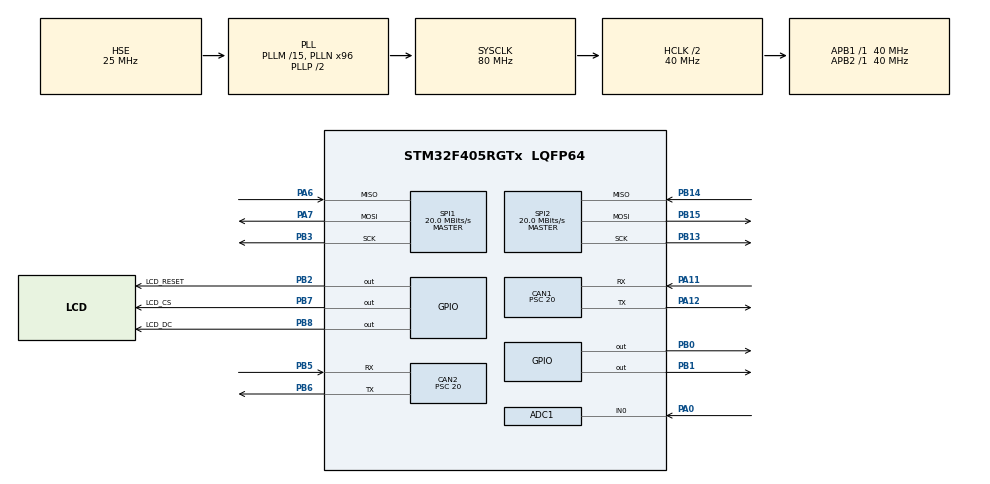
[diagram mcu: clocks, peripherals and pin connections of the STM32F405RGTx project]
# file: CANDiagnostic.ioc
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ADC1.Channel-0\#ChannelRegularConversion=ADC_CHANNEL_0
ADC1.InjNumberOfConversion=0
ADC1.NbrOfConversion=1
ADC1.NbrOfConversionFlag=1
ADC1.Rank-0\#ChannelRegularConversion=1
ADC1.SamplingTime-0\#ChannelRegularConversion=ADC_SAMPLETIME_144CYCLES
ADC1.master=1
CAN1.BS1=CAN_BS1_2TQ
CAN1.CalculateBaudRate=500000
CAN1.CalculateTimeBit=2000.00
CAN1.CalculateTimeQuantum=500.0
CAN1.Mode=CAN_MODE_NORMAL
CAN1.Prescaler=20
CAN1.SJW=CAN_SJW_1TQ
CAN2.BS1=CAN_BS1_2TQ
CAN2.CalculateBaudRate=500000
CAN2.CalculateTimeBit=2000.00
CAN2.CalculateTimeQuantum=500.0
CAN2.Mode=CAN_MODE_NORMAL
CAN2.Prescaler=20
Mcu.Family=STM32F4
Mcu.Name=STM32F405RGTx
Mcu.Package=LQFP64
NVIC.ADC_IRQn=true\:0\:0\:false\:false\:true\:true\:true
NVIC.CAN1_RX0_IRQn=true\:0\:0\:false\:false\:true\:true\:true
NVIC.CAN1_RX1_IRQn=true\:0\:0\:false\:false\:true\:true\:true
NVIC.CAN2_RX0_IRQn=true\:0\:0\:false\:false\:true\:true\:true
NVIC.CAN2_RX1_IRQn=true\:0\:0\:false\:false\:true\:true\:true
NVIC.PriorityGroup=NVIC_PRIORITYGROUP_4
PA0-WKUP.Signal=ADCx_IN0
PA11.Mode=CAN_Activate
PA11.Signal=CAN1_RX
PA12.Mode=CAN_Activate
PA12.Signal=CAN1_TX
PA13.Mode=Serial_Wire
PA13.Signal=SYS_JTMS-SWDIO
PA14.Mode=Serial_Wire
PA14.Signal=SYS_JTCK-SWCLK
PA6.Mode=Full_Duplex_Master
PA6.Signal=SPI1_MISO
PA7.Mode=Full_Duplex_Master
PA7.Signal=SPI1_MOSI
PB0.Signal=GPIO_Output
PB1.Signal=GPIO_Output
PB13.Mode=Full_Duplex_Master
PB13.Signal=SPI2_SCK
PB14.Mode=Full_Duplex_Master
PB14.Signal=SPI2_MISO
PB15.Mode=Full_Duplex_Master
PB15.Signal=SPI2_MOSI
PB2.GPIO_Label=LCD_RESET
PB2.Signal=GPIO_Output
PB3.Mode=Full_Duplex_Master
PB3.Signal=SPI1_SCK
PB5.Mode=CAN_Activate
PB5.Signal=CAN2_RX
PB6.Mode=CAN_Activate
PB6.Signal=CAN2_TX
PB7.GPIO_Label=LCD_CS
PB7.Signal=GPIO_Output
PB8.GPIO_Label=LCD_DC
PB8.Signal=GPIO_Output
PB9.Signal=SPI2_NSS
PH0-OSC_IN.Mode=HSE-External-Oscillator
PH0-OSC_IN.Signal=RCC_OSC_IN
PH1-OSC_OUT.Mode=HSE-External-Oscillator
PH1-OSC_OUT.Signal=RCC_OSC_OUT
ProjectManager.HeapSize=0x200
ProjectManager.StackSize=0x400
ProjectManager.TargetToolchain=STM32CubeIDE
RCC.48MHZClocksFreq_Value=40000000
RCC.AHBCLKDivider=RCC_SYSCLK_DIV2
RCC.AHBFreq_Value=40000000
RCC.APB1Freq_Value=40000000
RCC.APB1TimFreq_Value=40000000
RCC.APB2Freq_Value=40000000
RCC.APB2TimFreq_Value=40000000
RCC.CortexFreq_Value=40000000
RCC.HCLKFreq_Value=40000000
RCC.HSE_VALUE=25000000
RCC.HSI_VALUE=16000000
RCC.LSE_VALUE=32768
RCC.PLLM=15
RCC.PLLN=96
RCC.PLLSourceVirtual=RCC_PLLSOURCE_HSE
RCC.SYSCLKFreq_VALUE=80000000
RCC.SYSCLKSource=RCC_SYSCLKSOURCE_PLLCLK
RCC.VCOOutputFreq_Value=160000000
SH.ADCx_IN0.0=ADC1_IN0,IN0
SPI1.CalculateBaudRate=20.0 MBits/s
SPI1.Direction=SPI_DIRECTION_2LINES
SPI1.Mode=SPI_MODE_MASTER
SPI1.VirtualType=VM_MASTER
SPI2.CalculateBaudRate=20.0 MBits/s
SPI2.Direction=SPI_DIRECTION_2LINES
SPI2.Mode=SPI_MODE_MASTER
SPI2.VirtualType=VM_MASTER
board=custom

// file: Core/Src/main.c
/* USER CODE BEGIN Header */
/**
  ******************************************************************************
  * @file           : main.c
  * @brief          : Main program body
  ******************************************************************************
  * @attention
  *
  * <h2><center>&copy; Copyright (c) 2023 STMicroelectronics.
  * All rights reserved.</center></h2>
  *
  * This software component is licensed by ST under BSD 3-Clause license,
  * the "License"; You may not use this file except in compliance with the
  * License. You may obtain a copy of the License at:
  *                        opensource.org/licenses/BSD-3-Clause
  *
  ******************************************************************************
  */
/* USER CODE END Header */
#include "main.h"
#include "stdio.h"
#include "st7789.h"
#include "LCD_display.h"
#include "stdint.h"

ADC_HandleTypeDef hadc1;

CAN_HandleTypeDef hcan1;
CAN_HandleTypeDef hcan2;

SPI_HandleTypeDef hspi1;
SPI_HandleTypeDef hspi2;

void SystemClock_Config(void);
static void MX_GPIO_Init(void);
static void MX_CAN1_Init(void);
static void MX_CAN2_Init(void);
static void MX_SPI1_Init(void);
static void MX_ADC1_Init(void);
static void MX_SPI2_Init(void);

/* USER CODE BEGIN 0 */
uint16_t u16_ADCVal;
float Voltage;
void HAL_ADC_ConvCpltCallback(ADC_HandleTypeDef* hadc)
{
  /* Prevent unused argument(s) compilation warning */
  UNUSED(hadc);
  /* NOTE : This function Should not be modified, when the callback is needed,
            the HAL_ADC_ConvCpltCallback could be implemented in the user file
   */
  if(hadc->Instance == ADC1){
	  u16_ADCVal = HAL_ADC_GetValue(&hadc1);
	  Voltage = (float)u16_ADCVal/4096*3.3;
  }
}

CAN_TxHeaderTypeDef   TxHeader_Node1;
CAN_RxHeaderTypeDef   RxHeader_Node1;

CAN_TxHeaderTypeDef   TxHeader_Node2;
CAN_RxHeaderTypeDef   RxHeader_Node2;

uint32_t TxMailbox;
uint8_t TxData_Node1[8] = {0x22, 0x34,0x10,0,0,0,0,0};
uint8_t RxData_Node1[8];

uint8_t TxData_Node2[8] = {0,0,0,0,0,0,0,0};;
uint8_t RxData_Node2[8];

uint8_t  count=0;

int datacheck = 0;

void HAL_CAN_RxFifo0MsgPendingCallback(CAN_HandleTypeDef *hcan)
{
	if(HAL_CAN_GetRxMessage(hcan, CAN_RX_FIFO0, &RxHeader_Node1, RxData_Node1) == HAL_OK){
		uint32_t value = RxHeader_Node1.StdId;
		char valueString[11];
		sprintf(valueString, "DataID: 0x%04X", value);
		ST7789_WriteString(140, 10, valueString, Font_7x10, RED, WHITE);

		for(int i=0;i<8;i++){
			uint8_t value = RxData_Node1[i];
		    char valueString[5];
		    sprintf(valueString, "0x%02X", value);
		    ST7789_WriteString(140, (20*i)+30, valueString, Font_7x10, RED, WHITE);
		}
		HAL_GPIO_WritePin(GPIOB, GPIO_PIN_1, 1);

		if(RxData_Node1[0] == 0x7F){
			if(RxData_Node1[2] == 0x11){
				ST7789_WriteString(0, 200, "serviceNotSupportedInActiveSession", Font_7x10, RED, WHITE);
			}
			else if(RxData_Node1[2] == 0x31){
				ST7789_WriteString(0, 200, "requestOutOfRange", Font_7x10, RED, WHITE);
			}
			else{
				ST7789_WriteString(0, 200, "Error", Font_7x10, RED, WHITE);
			}

		}
		else{
			uint16_t combinedValue = (uint16_t)((RxData_Node1[3] << 8) | RxData_Node1[4]);
			float receivedVoltage = (float)combinedValue/4096*3.3;
			char valueString[11];
			sprintf(valueString, "Received Voltage: %f", receivedVoltage);
			ST7789_WriteString(0, 200, valueString, Font_7x10, RED, WHITE);
		}
	}
}

void HAL_CAN_RxFifo1MsgPendingCallback(CAN_HandleTypeDef *hcan){
		if(HAL_CAN_GetRxMessage(hcan, CAN_RX_FIFO1, &RxHeader_Node2, RxData_Node2) == HAL_OK){
			uint32_t value = RxHeader_Node2.StdId;
			char valueString[11];
			sprintf(valueString, "DataID: 0x%04X", value);
			ST7789_WriteString(0, 10, valueString, Font_7x10, RED, WHITE);

            for(int i=0;i<8;i++){
            	uint8_t value = RxData_Node2[i];
            	char valueString[5];
            	sprintf(valueString, "0x%02X", value);
            	ST7789_WriteString(0,(20*i)+30, valueString, Font_7x10, RED, WHITE);
            }

            if(RxData_Node2[0] != 0x22){
            	TxData_Node2[0] = 0x7F;
            	TxData_Node2[1] = RxData_Node2[0];
            	TxData_Node2[2] = 0x11;
            }
            else if(RxData_Node2[0] == 0x22 && (RxData_Node2[1] != 0x34 || RxData_Node2[2] != 0x10)){
            	TxData_Node2[0] = 0x7F;
            	TxData_Node2[1] = RxData_Node2[0];
            	TxData_Node2[2] = 0x31;
            }
            else{
            	TxData_Node2[0] = 0x62;
            	TxData_Node2[1] = RxData_Node2[1];
            	TxData_Node2[2] = RxData_Node2[2];
            	HAL_ADC_Start_IT(&hadc1);
            	TxData_Node2[3] = (uint8_t)(u16_ADCVal >> 8);
            	TxData_Node2[4] = (uint8_t)(u16_ADCVal & 0xFF);
            }

			if(HAL_CAN_AddTxMessage(&hcan2, &TxHeader_Node2, TxData_Node2, &TxMailbox) == HAL_OK){
				HAL_GPIO_WritePin(GPIOB, GPIO_PIN_0, 1);

			}
		}
}
/* USER CODE END 0 */

int main(void)
{

  /* MCU Configuration--------------------------------------------------------*/

  /* Reset of all peripherals, Initializes the Flash interface and the Systick. */
  HAL_Init();

  /* Configure the system clock */
  SystemClock_Config();

  /* Initialize all configured peripherals */
  MX_GPIO_Init();
  MX_CAN1_Init();
  MX_CAN2_Init();
  MX_SPI1_Init();
  MX_ADC1_Init();
  MX_SPI2_Init();
  /* USER CODE BEGIN 2 */
  TxHeader_Node1.DLC = 8;
    TxHeader_Node1.ExtId = 0x02;
    TxHeader_Node1.IDE = CAN_ID_STD;
    TxHeader_Node1.RTR = CAN_RTR_DATA;
    TxHeader_Node1.StdId = 0x012;
    TxHeader_Node1.TransmitGlobalTime = DISABLE;

    TxHeader_Node2.DLC = 8;
    TxHeader_Node2.ExtId = 0x02;
    TxHeader_Node2.IDE = CAN_ID_STD;
    TxHeader_Node2.RTR = CAN_RTR_DATA;
    TxHeader_Node2.StdId = 0x0A2;
    TxHeader_Node2.TransmitGlobalTime = DISABLE;

      HAL_CAN_Start(&hcan1);
      HAL_CAN_Start(&hcan2);

      //CAN1 filter
      CAN_FilterTypeDef can1filterconfig;

          can1filterconfig.FilterActivation = CAN_FILTER_ENABLE;
          can1filterconfig.FilterBank = 0;  // which filter bank to use from the assigned ones
          can1filterconfig.FilterFIFOAssignment = CAN_FILTER_FIFO0;
          can1filterconfig.FilterIdHigh = 0x0A2 << 5;
          can1filterconfig.FilterIdLow = 0x0000;
          can1filterconfig.FilterMaskIdHigh = 0x0A2 << 5;
          can1filterconfig.FilterMaskIdLow = 0x0000;
          can1filterconfig.FilterMode = CAN_FILTERMODE_IDMASK;
          can1filterconfig.FilterScale = CAN_FILTERSCALE_32BIT;
          can1filterconfig.SlaveStartFilterBank = 14;  // how many filters to assign to the CAN1 (master can)

          HAL_CAN_ConfigFilter(&hcan1, &can1filterconfig);
      //End CAN1 filter

      //CAN1 filter
      CAN_FilterTypeDef can2filterconfig;

      	can2filterconfig.FilterActivation = CAN_FILTER_ENABLE;
          can2filterconfig.FilterBank = 14;  // which filter bank to use from the assigned ones
          can2filterconfig.FilterFIFOAssignment = CAN_FILTER_FIFO1;
          can2filterconfig.FilterIdHigh = 0x012 << 5;
          can2filterconfig.FilterIdLow = 0x0000;
          can2filterconfig.FilterMaskIdHigh = 0x012 << 5;
          can2filterconfig.FilterMaskIdLow = 0x0000;
          can2filterconfig.FilterMode = CAN_FILTERMODE_IDMASK;
          can2filterconfig.FilterScale = CAN_FILTERSCALE_32BIT;
          can2filterconfig.SlaveStartFilterBank = 14;  // how many filters to assign to the CAN1 (master can)

          HAL_CAN_ConfigFilter(&hcan2, &can2filterconfig);
       //End CAN1 filter

          HAL_CAN_ActivateNotification(&hcan1,CAN_IT_RX_FIFO0_MSG_PENDING);
          HAL_CAN_ActivateNotification(&hcan2,CAN_IT_RX_FIFO1_MSG_PENDING);

  lcd_init();
  ST7789_Init();
  /* USER CODE END 2 */

  /* Infinite loop */
  while (1)
  {

    /* USER CODE BEGIN 3 */

	HAL_CAN_AddTxMessage(&hcan1, &TxHeader_Node1, TxData_Node1, &TxMailbox);

	  HAL_Delay(1000);

  }
  /* USER CODE END 3 */
}

void SystemClock_Config(void)
{
  RCC_OscInitTypeDef RCC_OscInitStruct = {0};
  RCC_ClkInitTypeDef RCC_ClkInitStruct = {0};

  /** Configure the main internal regulator output voltage
  */
  __HAL_RCC_PWR_CLK_ENABLE();
  __HAL_PWR_VOLTAGESCALING_CONFIG(PWR_REGULATOR_VOLTAGE_SCALE1);
  /** Initializes the RCC Oscillators according to the specified parameters
  * in the RCC_OscInitTypeDef structure.
  */
  RCC_OscInitStruct.OscillatorType = RCC_OSCILLATORTYPE_HSE;
  RCC_OscInitStruct.HSEState = RCC_HSE_ON;
  RCC_OscInitStruct.PLL.PLLState = RCC_PLL_ON;
  RCC_OscInitStruct.PLL.PLLSource = RCC_PLLSOURCE_HSE;
  RCC_OscInitStruct.PLL.PLLM = 15;
  RCC_OscInitStruct.PLL.PLLN = 96;
  RCC_OscInitStruct.PLL.PLLP = RCC_PLLP_DIV2;
  RCC_OscInitStruct.PLL.PLLQ = 4;
  if (HAL_RCC_OscConfig(&RCC_OscInitStruct) != HAL_OK)
  {
    Error_Handler();
  }
  /** Initializes the CPU, AHB and APB buses clocks
  */
  RCC_ClkInitStruct.ClockType = RCC_CLOCKTYPE_HCLK|RCC_CLOCKTYPE_SYSCLK
                              |RCC_CLOCKTYPE_PCLK1|RCC_CLOCKTYPE_PCLK2;
  RCC_ClkInitStruct.SYSCLKSource = RCC_SYSCLKSOURCE_PLLCLK;
  RCC_ClkInitStruct.AHBCLKDivider = RCC_SYSCLK_DIV2;
  RCC_ClkInitStruct.APB1CLKDivider = RCC_HCLK_DIV1;
  RCC_ClkInitStruct.APB2CLKDivider = RCC_HCLK_DIV1;

  if (HAL_RCC_ClockConfig(&RCC_ClkInitStruct, FLASH_LATENCY_1) != HAL_OK)
  {
    Error_Handler();
  }
}

static void MX_ADC1_Init(void)
{

  ADC_ChannelConfTypeDef sConfig = {0};

  /** Configure the global features of the ADC (Clock, Resolution, Data Alignment and number of conversion)
  */
  hadc1.Instance = ADC1;
  hadc1.Init.ClockPrescaler = ADC_CLOCK_SYNC_PCLK_DIV2;
  hadc1.Init.Resolution = ADC_RESOLUTION_12B;
  hadc1.Init.ScanConvMode = DISABLE;
  hadc1.Init.ContinuousConvMode = DISABLE;
  hadc1.Init.DiscontinuousConvMode = DISABLE;
  hadc1.Init.ExternalTrigConvEdge = ADC_EXTERNALTRIGCONVEDGE_NONE;
  hadc1.Init.ExternalTrigConv = ADC_SOFTWARE_START;
  hadc1.Init.DataAlign = ADC_DATAALIGN_RIGHT;
  hadc1.Init.NbrOfConversion = 1;
  hadc1.Init.DMAContinuousRequests = DISABLE;
  hadc1.Init.EOCSelection = ADC_EOC_SINGLE_CONV;
  if (HAL_ADC_Init(&hadc1) != HAL_OK)
  {
    Error_Handler();
  }
  /** Configure for the selected ADC regular channel its corresponding rank in the sequencer and its sample time.
  */
  sConfig.Channel = ADC_CHANNEL_0;
  sConfig.Rank = 1;
  sConfig.SamplingTime = ADC_SAMPLETIME_144CYCLES;
  if (HAL_ADC_ConfigChannel(&hadc1, &sConfig) != HAL_OK)
  {
    Error_Handler();
  }

}

static void MX_CAN1_Init(void)
{

  hcan1.Instance = CAN1;
  hcan1.Init.Prescaler = 20;
  hcan1.Init.Mode = CAN_MODE_NORMAL;
  hcan1.Init.SyncJumpWidth = CAN_SJW_1TQ;
  hcan1.Init.TimeSeg1 = CAN_BS1_2TQ;
  hcan1.Init.TimeSeg2 = CAN_BS2_1TQ;
  hcan1.Init.TimeTriggeredMode = DISABLE;
  hcan1.Init.AutoBusOff = DISABLE;
  hcan1.Init.AutoWakeUp = DISABLE;
  hcan1.Init.AutoRetransmission = DISABLE;
  hcan1.Init.ReceiveFifoLocked = DISABLE;
  hcan1.Init.TransmitFifoPriority = DISABLE;
  if (HAL_CAN_Init(&hcan1) != HAL_OK)
  {
    Error_Handler();
  }

}

static void MX_CAN2_Init(void)
{

  hcan2.Instance = CAN2;
  hcan2.Init.Prescaler = 20;
  hcan2.Init.Mode = CAN_MODE_NORMAL;
  hcan2.Init.SyncJumpWidth = CAN_SJW_1TQ;
  hcan2.Init.TimeSeg1 = CAN_BS1_2TQ;
  hcan2.Init.TimeSeg2 = CAN_BS2_1TQ;
  hcan2.Init.TimeTriggeredMode = DISABLE;
  hcan2.Init.AutoBusOff = DISABLE;
  hcan2.Init.AutoWakeUp = DISABLE;
  hcan2.Init.AutoRetransmission = DISABLE;
  hcan2.Init.ReceiveFifoLocked = DISABLE;
  hcan2.Init.TransmitFifoPriority = DISABLE;
  if (HAL_CAN_Init(&hcan2) != HAL_OK)
  {
    Error_Handler();
  }

}

static void MX_SPI1_Init(void)
{

  /* SPI1 parameter configuration*/
  hspi1.Instance = SPI1;
  hspi1.Init.Mode = SPI_MODE_MASTER;
  hspi1.Init.Direction = SPI_DIRECTION_2LINES;
  hspi1.Init.DataSize = SPI_DATASIZE_8BIT;
  hspi1.Init.CLKPolarity = SPI_POLARITY_LOW;
  hspi1.Init.CLKPhase = SPI_PHASE_1EDGE;
  hspi1.Init.NSS = SPI_NSS_SOFT;
  hspi1.Init.BaudRatePrescaler = SPI_BAUDRATEPRESCALER_2;
  hspi1.Init.FirstBit = SPI_FIRSTBIT_MSB;
  hspi1.Init.TIMode = SPI_TIMODE_DISABLE;
  hspi1.Init.CRCCalculation = SPI_CRCCALCULATION_DISABLE;
  hspi1.Init.CRCPolynomial = 10;
  if (HAL_SPI_Init(&hspi1) != HAL_OK)
  {
    Error_Handler();
  }

}

static void MX_SPI2_Init(void)
{

  /* SPI2 parameter configuration*/
  hspi2.Instance = SPI2;
  hspi2.Init.Mode = SPI_MODE_MASTER;
  hspi2.Init.Direction = SPI_DIRECTION_2LINES;
  hspi2.Init.DataSize = SPI_DATASIZE_8BIT;
  hspi2.Init.CLKPolarity = SPI_POLARITY_LOW;
  hspi2.Init.CLKPhase = SPI_PHASE_1EDGE;
  hspi2.Init.NSS = SPI_NSS_SOFT;
  hspi2.Init.BaudRatePrescaler = SPI_BAUDRATEPRESCALER_2;
  hspi2.Init.FirstBit = SPI_FIRSTBIT_MSB;
  hspi2.Init.TIMode = SPI_TIMODE_DISABLE;
  hspi2.Init.CRCCalculation = SPI_CRCCALCULATION_DISABLE;
  hspi2.Init.CRCPolynomial = 10;
  if (HAL_SPI_Init(&hspi2) != HAL_OK)
  {
    Error_Handler();
  }

}

static void MX_GPIO_Init(void)
{
  GPIO_InitTypeDef GPIO_InitStruct = {0};

  /* GPIO Ports Clock Enable */
  __HAL_RCC_GPIOH_CLK_ENABLE();
  __HAL_RCC_GPIOA_CLK_ENABLE();
  __HAL_RCC_GPIOB_CLK_ENABLE();

  /*Configure GPIO pin Output Level */
  HAL_GPIO_WritePin(GPIOB, GPIO_PIN_0|GPIO_PIN_1|LCD_RESET_Pin|LCD_CS_Pin
                          |LCD_DC_Pin, GPIO_PIN_RESET);

  /*Configure GPIO pins : PB0 PB1 LCD_RESET_Pin LCD_CS_Pin
                           LCD_DC_Pin */
  GPIO_InitStruct.Pin = GPIO_PIN_0|GPIO_PIN_1|LCD_RESET_Pin|LCD_CS_Pin
                          |LCD_DC_Pin;
  GPIO_InitStruct.Mode = GPIO_MODE_OUTPUT_PP;
  GPIO_InitStruct.Pull = GPIO_NOPULL;
  GPIO_InitStruct.Speed = GPIO_SPEED_FREQ_LOW;
  HAL_GPIO_Init(GPIOB, &GPIO_InitStruct);

}

void Error_Handler(void)
{
  __disable_irq();
  while (1)
  {
  }
}

/************************ (C) COPYRIGHT STMicroelectronics *****END OF FILE****/
